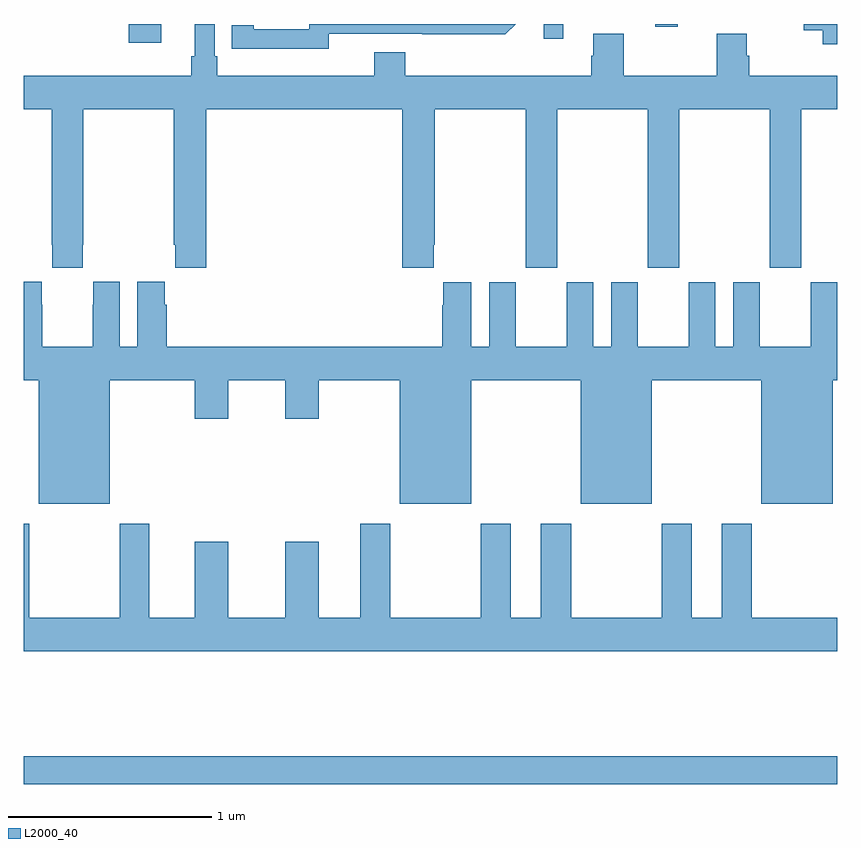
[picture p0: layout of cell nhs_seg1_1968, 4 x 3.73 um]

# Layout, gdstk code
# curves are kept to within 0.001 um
import gdstk
lib = gdstk.Library(unit=1e-6, precision=1e-09)
def R(c, l, rs):  # rectangles x0, y0, x1, y1
    for r in rs: c.add(gdstk.rectangle(r[:2], r[2:], *l))
def P(c, l, *ps):  # polygons
    for p in ps: c.add(gdstk.Polygon(p, *l))
L2000_40 = (2000, 40)

nhs_seg1_1968 = lib.new_cell('nhs_seg1_1968')
R(nhs_seg1_1968, L2000_40, [(219,500.464,223,500.6), (219.518,504.108,219.676,504.199), (221.556,504.126,221.653,504.199), (222.104,504.186,222.215,504.199)])
P(nhs_seg1_1968, L2000_40, [(220.5,504.15),(221.368,504.149),(221.419,504.199),(220.404,504.199),(220.404,504.174),(220.132,504.174),(220.132,504.194),(220.024,504.194),(220.024,504.078),(220.5,504.077)],
  [(223,504.199),(222.834,504.199),(222.834,504.169),(222.927,504.169),(222.927,504.099),(223,504.099)],
  [(219.291,503.113),(219.294,503.113),(219.294,503.78),(219.739,503.78),(219.739,503.113),(219.745,503.113),(219.745,503.001),(219.899,503.001),(219.899,503.78),(220.862,503.78),(220.862,503.001),(221.017,503.001),(221.017,503.113),(221.022,503.113),(221.022,503.78),(221.467,503.78),(221.467,503.001),(221.622,503.001),(221.622,503.78),(222.067,503.78),(222.067,503.001),(222.222,503.001),(222.222,503.78),(222.667,503.78),(222.667,503.001),(222.822,503.001),(222.822,503.78),(223,503.78),(223,503.944),(222.566,503.944),(222.566,504.042),(222.553,504.042),(222.553,504.152),(222.406,504.152),(222.406,503.944),(221.949,503.944),(221.949,504.152),(221.801,504.152),(221.801,504.042),(221.789,504.042),(221.789,503.944),(220.877,503.944),(220.877,504.061),(220.724,504.061),(220.724,503.944),(219.953,503.944),(219.953,504.04),(219.939,504.04),(219.939,504.199),(219.842,504.199),(219.842,504.04),(219.823,504.04),(219.823,503.944),(219,503.944),(219,503.78),(219.139,503.78),(219.139,503.113),(219.141,503.113),(219.141,503.001),(219.291,503.001)],
  [(222.626,501.842),(222.976,501.842),(222.976,502.448),(223,502.448),(223,502.93),(222.869,502.93),(222.869,502.612),(222.619,502.612),(222.619,502.93),(222.488,502.93),(222.488,502.612),(222.4,502.612),(222.4,502.93),(222.269,502.93),(222.269,502.612),(222.019,502.612),(222.019,502.93),(221.888,502.93),(221.888,502.612),(221.8,502.612),(221.8,502.93),(221.669,502.93),(221.669,502.612),(221.419,502.612),(221.419,502.93),(221.288,502.93),(221.288,502.612),(221.2,502.612),(221.2,502.93),(221.063,502.93),(221.063,502.817),(221.057,502.817),(221.057,502.612),(219.704,502.612),(219.704,502.82),(219.694,502.82),(219.694,502.933),(219.56,502.933),(219.56,502.612),(219.472,502.612),(219.472,502.933),(219.342,502.933),(219.342,502.82),(219.341,502.82),(219.341,502.612),(219.091,502.612),(219.091,502.82),(219.09,502.82),(219.09,502.933),(219,502.933),(219,502.448),(219.074,502.448),(219.074,501.842),(219.424,501.842),(219.424,502.448),(219.842,502.448),(219.842,502.26),(220.006,502.26),(220.006,502.448),(220.286,502.448),(220.286,502.26),(220.45,502.26),(220.45,502.448),(220.85,502.448),(220.85,501.842),(221.2,501.842),(221.2,502.448),(221.738,502.448),(221.738,501.842),(222.088,501.842),(222.088,502.448),(222.626,502.448)],
  [(223,501.28),(222.579,501.28),(222.579,501.742),(222.431,501.742),(222.431,501.28),(222.283,501.28),(222.283,501.742),(222.136,501.742),(222.136,501.28),(221.691,501.28),(221.691,501.742),(221.543,501.742),(221.543,501.28),(221.395,501.28),(221.395,501.742),(221.248,501.742),(221.248,501.28),(220.803,501.28),(220.803,501.742),(220.655,501.742),(220.655,501.28),(220.45,501.28),(220.45,501.655),(220.286,501.655),(220.286,501.28),(220.006,501.28),(220.006,501.655),(219.842,501.655),(219.842,501.28),(219.619,501.28),(219.619,501.742),(219.472,501.742),(219.472,501.28),(219.027,501.28),(219.027,501.742),(219,501.742),(219,501.116),(223,501.116)])

lib.write_gds('nhs_seg1_1968.gds')
